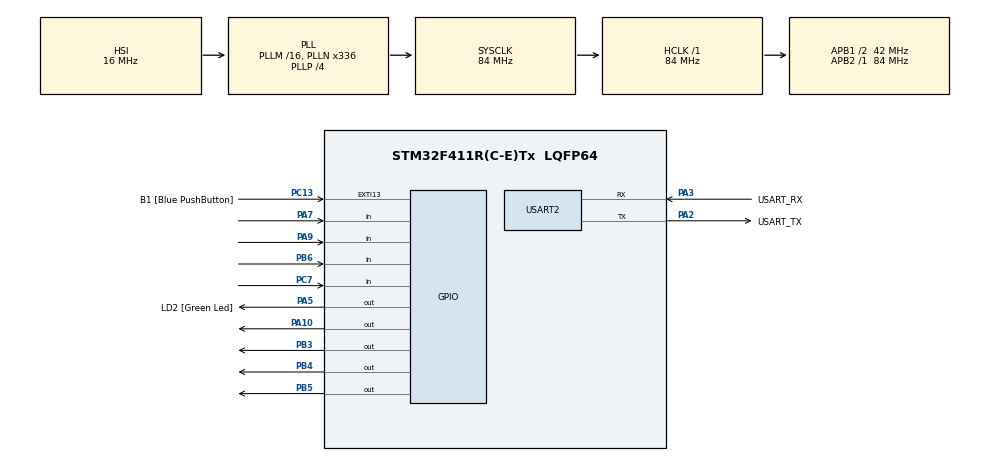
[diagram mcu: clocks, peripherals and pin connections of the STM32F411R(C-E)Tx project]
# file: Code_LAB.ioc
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Mcu.Family=STM32F4
Mcu.Name=STM32F411R(C-E)Tx
Mcu.Package=LQFP64
NVIC.PriorityGroup=NVIC_PRIORITYGROUP_0
PA10.GPIO_ModeDefaultOutputPP=GPIO_MODE_OUTPUT_OD
PA10.GPIO_PuPd=GPIO_NOPULL
PA10.Signal=GPIO_Output
PA13.GPIO_Label=TMS
PA13.Mode=Serial_Wire
PA13.Signal=SYS_JTMS-SWDIO
PA14.GPIO_Label=TCK
PA14.Mode=Serial_Wire
PA14.Signal=SYS_JTCK-SWCLK
PA2.GPIO_Label=USART_TX
PA2.Mode=Asynchronous
PA2.Signal=USART2_TX
PA3.GPIO_Label=USART_RX
PA3.Mode=Asynchronous
PA3.Signal=USART2_RX
PA5.GPIO_Label=LD2 [Green Led]
PA5.Signal=GPIO_Output
PA7.GPIO_PuPd=GPIO_PULLUP
PA7.Signal=GPIO_Input
PA9.GPIO_PuPd=GPIO_PULLUP
PA9.Signal=GPIO_Input
PB3.GPIO_ModeDefaultOutputPP=GPIO_MODE_OUTPUT_OD
PB3.GPIO_PuPd=GPIO_NOPULL
PB3.Signal=GPIO_Output
PB4.GPIO_ModeDefaultOutputPP=GPIO_MODE_OUTPUT_OD
PB4.GPIO_PuPd=GPIO_NOPULL
PB4.Signal=GPIO_Output
PB5.GPIO_ModeDefaultOutputPP=GPIO_MODE_OUTPUT_OD
PB5.GPIO_PuPd=GPIO_NOPULL
PB5.Signal=GPIO_Output
PB6.GPIO_PuPd=GPIO_PULLUP
PB6.Signal=GPIO_Input
PC13-ANTI_TAMP.GPIO_Label=B1 [Blue PushButton]
PC13-ANTI_TAMP.GPIO_ModeDefaultEXTI=GPIO_MODE_IT_FALLING
PC13-ANTI_TAMP.Signal=GPXTI13
PC14-OSC32_IN.Mode=LSE-External-Oscillator
PC14-OSC32_IN.Signal=RCC_OSC32_IN
PC15-OSC32_OUT.Mode=LSE-External-Oscillator
PC15-OSC32_OUT.Signal=RCC_OSC32_OUT
PC7.GPIO_PuPd=GPIO_PULLUP
PC7.Signal=GPIO_Input
PH0\ -\ OSC_IN.Mode=HSE-External-Clock-Source
PH0\ -\ OSC_IN.Signal=RCC_OSC_IN
PH1\ -\ OSC_OUT.Mode=HSE-External-Clock-Source
PH1\ -\ OSC_OUT.Signal=RCC_OSC_OUT
ProjectManager.HeapSize=0x200
ProjectManager.StackSize=0x400
ProjectManager.TargetToolchain=STM32CubeIDE
RCC.48MHZClocksFreq_Value=84000000
RCC.AHBFreq_Value=84000000
RCC.APB1CLKDivider=RCC_HCLK_DIV2
RCC.APB1Freq_Value=42000000
RCC.APB1TimFreq_Value=84000000
RCC.APB2Freq_Value=84000000
RCC.APB2TimFreq_Value=84000000
RCC.CortexFreq_Value=84000000
RCC.FLatency-AdvancedSettings=FLASH_LATENCY_2
RCC.HCLKFreq_Value=84000000
RCC.HSE_VALUE=8000000
RCC.HSI_VALUE=16000000
RCC.PLLN=336
RCC.PLLP=RCC_PLLP_DIV4
RCC.SYSCLKFreq_VALUE=84000000
RCC.SYSCLKSource=RCC_SYSCLKSOURCE_PLLCLK
RCC.VCOOutputFreq_Value=336000000
USART2.VirtualMode=VM_ASYNC
board=NUCLEO-F411RE

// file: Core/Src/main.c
/* USER CODE BEGIN Header */
/**
  ******************************************************************************
  * @file           : main.c
  * @brief          : Main program body
  ******************************************************************************
  * @attention
  *
  * Copyright (c) 2023 STMicroelectronics.
  * All rights reserved.
  *
  * This software is licensed under terms that can be found in the LICENSE file
  * in the root directory of this software component.
  * If no LICENSE file comes with this software, it is provided AS-IS.
  *
  ******************************************************************************
  */
/* USER CODE END Header */
#include "main.h"

UART_HandleTypeDef huart2;

/* USER CODE BEGIN PV */
typedef struct {
	GPIO_TypeDef* PORT;
	uint16_t PIN;
}PortPin;

PortPin R[4] =
{
		{GPIOA,GPIO_PIN_10},
		{GPIOB,GPIO_PIN_3},
		{GPIOB,GPIO_PIN_5},
		{GPIOB,GPIO_PIN_4}
};

PortPin L[4] =
{
		{GPIOA,GPIO_PIN_9},
		{GPIOC,GPIO_PIN_7},
		{GPIOB,GPIO_PIN_6},
		{GPIOA,GPIO_PIN_7}
};

uint16_t ButtonMatrix = 0;
uint16_t state = 1;
uint16_t NumberInput = 0;
uint16_t NumberDelay = 0;
uint8_t NowState = 0;

/* USER CODE END PV */

void SystemClock_Config(void);
static void MX_GPIO_Init(void);
static void MX_USART2_UART_Init(void);
/* USER CODE BEGIN PFP */
int ReadMatrixButton_1Row();
/* USER CODE END PFP */

int main(void)
{

  /* MCU Configuration--------------------------------------------------------*/

  /* Reset of all peripherals, Initializes the Flash interface and the Systick. */
  HAL_Init();

  /* Configure the system clock */
  SystemClock_Config();

  /* Initialize all configured peripherals */
  MX_GPIO_Init();
  MX_USART2_UART_Init();

  /* Infinite loop */
  while (1)
  {

    /* USER CODE BEGIN 3 */
	  static uint32_t timestamp = 0;
	  // 100 time per 1 second || 1 time per second = 1/100 = 0.01 s = 10 ms
	  if(HAL_GetTick() > timestamp){
		  timestamp = HAL_GetTick() + 10; // +10 ms
		  NumberInput = ReadMatrixButton_1Row();
	  }
	  switch (state) {
		case 1: //initial
			NowState = 1;

			if(NumberInput == 64 && NumberDelay == 0){ //Correct Number
				state = 3;
			}
			else if(NumberInput != 0 && NumberDelay == 0) state = 2;//Wrong
			break;
		case 2://wrong
			NowState = 2;

			if(NumberInput == 8 && NumberDelay == 0){ //clear
				state = 1;
			}
			break;
		case 3://6
			NowState = 3;

			if(NumberInput == 16 && NumberDelay == 0){ //Correct Number
				state = 4;
			}
			else if(NumberInput == 8 && NumberDelay == 0){ //clear
				state = 1;
			}
			else if(NumberInput != 0 && NumberDelay == 0) state = 2;//Wrong

			break;
		case 4://4
			NowState = 4;

			if(NumberInput == 1024 && NumberDelay == 0){ //Correct Number
				state = 5;
			}
			else if(NumberInput == 8 && NumberDelay == 0){ //clear
				state = 1;
			}
			else if(NumberInput != 0 && NumberDelay == 0) state = 2;//Wrong

			break;
		case 5://3
			NowState = 5;

			if(NumberInput == 16 && NumberDelay == 0){ //Correct Number
				state = 6;
			}
			else if(NumberInput == 8 && NumberDelay == 0){ //clear
				state = 1;
			}
			else if(NumberInput != 0 && NumberDelay == 0) state = 2;//Wrong

			break;
		case 6://4
			NowState = 6;

			if(NumberInput == 4096 && NumberDelay == 0){ //Correct Number
				state = 7;
			}
			else if(NumberInput == 8 && NumberDelay == 0){ //clear
				state = 1;
			}
			else if(NumberInput != 0 && NumberDelay == 0) state = 2;//Wrong

			break;
		case 7://0
			NowState = 7;

			if(NumberInput == 32 && NumberDelay == 0){ //Correct Number
				state = 8;
			}
			else if(NumberInput == 8 && NumberDelay == 0){ //clear
				state = 1;
			}
			else if(NumberInput != 0 && NumberDelay == 0) state = 2;//Wrong

			break;
		case 8://5
			NowState = 8;

			if(NumberInput == 4096 && NumberDelay == 0){ //Correct Number
				state = 9;
			}
			else if(NumberInput == 8 && NumberDelay == 0){ //clear
				state = 1;
			}
			else if(NumberInput != 0 && NumberDelay == 0) state = 2;//Wrong

			break;
		case 9://0
			NowState = 9;

			if(NumberInput == 4096 && NumberDelay == 0){ //Correct Number
				state = 10;
			}
			else if(NumberInput == 8 && NumberDelay == 0){ //clear
				state = 1;
			}
			else if(NumberInput != 0 && NumberDelay == 0) state = 2;//Wrong

			break;
		case 10://0
			NowState = 10;

			if(NumberInput == 4096 && NumberDelay == 0){ //Correct Number
				state = 11;
			}
			else if(NumberInput == 8 && NumberDelay == 0){ //clear
				state = 1;
			}
			else if(NumberInput != 0 && NumberDelay == 0) state = 2;//Wrong

			break;
		case 11://0
			NowState = 11;

			if(NumberInput == 16 && NumberDelay == 0){ //Correct Number
				state = 12;
			}
			else if(NumberInput == 8 && NumberDelay == 0){ //clear
				state = 1;
			}
			else if(NumberInput != 0 && NumberDelay == 0) state = 2;//Wrong

			break;
		case 12://4
			NowState = 12;

			if(NumberInput == 16 && NumberDelay == 0){ //Correct Number
				state = 13;
			}
			else if(NumberInput == 8 && NumberDelay == 0){ //clear
				state = 1;
			}
			else if(NumberInput != 0 && NumberDelay == 0) state = 2;//Wrong

			break;
		case 13://4
			NowState = 13;

			if(NumberInput == 32768 && NumberDelay == 0){ //Click OK
				state = 14;
			}
			else if(NumberInput == 8 && NumberDelay == 0){ //clear
				state = 1;
			}
			else if(NumberInput != 0 && NumberDelay == 0) state = 2;//Wrong

			break;
		case 14://LED on
			NowState = 14;
			HAL_GPIO_WritePin(GPIOA, GPIO_PIN_5, GPIO_PIN_SET);

			if(NumberInput == 8 && NumberDelay == 0){ //clear
				HAL_GPIO_WritePin(GPIOA, GPIO_PIN_5, GPIO_PIN_RESET);
				state = 1;
			}

			break;
	}
	  NumberDelay = NumberInput;
  }
  /* USER CODE END 3 */
}

void SystemClock_Config(void)
{
  RCC_OscInitTypeDef RCC_OscInitStruct = {0};
  RCC_ClkInitTypeDef RCC_ClkInitStruct = {0};

  /** Configure the main internal regulator output voltage
  */
  __HAL_RCC_PWR_CLK_ENABLE();
  __HAL_PWR_VOLTAGESCALING_CONFIG(PWR_REGULATOR_VOLTAGE_SCALE1);

  /** Initializes the RCC Oscillators according to the specified parameters
  * in the RCC_OscInitTypeDef structure.
  */
  RCC_OscInitStruct.OscillatorType = RCC_OSCILLATORTYPE_HSI;
  RCC_OscInitStruct.HSIState = RCC_HSI_ON;
  RCC_OscInitStruct.HSICalibrationValue = RCC_HSICALIBRATION_DEFAULT;
  RCC_OscInitStruct.PLL.PLLState = RCC_PLL_ON;
  RCC_OscInitStruct.PLL.PLLSource = RCC_PLLSOURCE_HSI;
  RCC_OscInitStruct.PLL.PLLM = 16;
  RCC_OscInitStruct.PLL.PLLN = 336;
  RCC_OscInitStruct.PLL.PLLP = RCC_PLLP_DIV4;
  RCC_OscInitStruct.PLL.PLLQ = 4;
  if (HAL_RCC_OscConfig(&RCC_OscInitStruct) != HAL_OK)
  {
    Error_Handler();
  }

  /** Initializes the CPU, AHB and APB buses clocks
  */
  RCC_ClkInitStruct.ClockType = RCC_CLOCKTYPE_HCLK|RCC_CLOCKTYPE_SYSCLK
                              |RCC_CLOCKTYPE_PCLK1|RCC_CLOCKTYPE_PCLK2;
  RCC_ClkInitStruct.SYSCLKSource = RCC_SYSCLKSOURCE_PLLCLK;
  RCC_ClkInitStruct.AHBCLKDivider = RCC_SYSCLK_DIV1;
  RCC_ClkInitStruct.APB1CLKDivider = RCC_HCLK_DIV2;
  RCC_ClkInitStruct.APB2CLKDivider = RCC_HCLK_DIV1;

  if (HAL_RCC_ClockConfig(&RCC_ClkInitStruct, FLASH_LATENCY_2) != HAL_OK)
  {
    Error_Handler();
  }
}

static void MX_USART2_UART_Init(void)
{

  huart2.Instance = USART2;
  huart2.Init.BaudRate = 115200;
  huart2.Init.WordLength = UART_WORDLENGTH_8B;
  huart2.Init.StopBits = UART_STOPBITS_1;
  huart2.Init.Parity = UART_PARITY_NONE;
  huart2.Init.Mode = UART_MODE_TX_RX;
  huart2.Init.HwFlowCtl = UART_HWCONTROL_NONE;
  huart2.Init.OverSampling = UART_OVERSAMPLING_16;
  if (HAL_UART_Init(&huart2) != HAL_OK)
  {
    Error_Handler();
  }

}

static void MX_GPIO_Init(void)
{
  GPIO_InitTypeDef GPIO_InitStruct = {0};

  /* GPIO Ports Clock Enable */
  __HAL_RCC_GPIOC_CLK_ENABLE();
  __HAL_RCC_GPIOH_CLK_ENABLE();
  __HAL_RCC_GPIOA_CLK_ENABLE();
  __HAL_RCC_GPIOB_CLK_ENABLE();

  /*Configure GPIO pin Output Level */
  HAL_GPIO_WritePin(GPIOA, LD2_Pin|GPIO_PIN_10, GPIO_PIN_RESET);

  /*Configure GPIO pin Output Level */
  HAL_GPIO_WritePin(GPIOB, GPIO_PIN_3|GPIO_PIN_4|GPIO_PIN_5, GPIO_PIN_RESET);

  /*Configure GPIO pin : B1_Pin */
  GPIO_InitStruct.Pin = B1_Pin;
  GPIO_InitStruct.Mode = GPIO_MODE_IT_FALLING;
  GPIO_InitStruct.Pull = GPIO_NOPULL;
  HAL_GPIO_Init(B1_GPIO_Port, &GPIO_InitStruct);

  /*Configure GPIO pin : LD2_Pin */
  GPIO_InitStruct.Pin = LD2_Pin;
  GPIO_InitStruct.Mode = GPIO_MODE_OUTPUT_PP;
  GPIO_InitStruct.Pull = GPIO_NOPULL;
  GPIO_InitStruct.Speed = GPIO_SPEED_FREQ_LOW;
  HAL_GPIO_Init(LD2_GPIO_Port, &GPIO_InitStruct);

  /*Configure GPIO pins : PA7 PA9 */
  GPIO_InitStruct.Pin = GPIO_PIN_7|GPIO_PIN_9;
  GPIO_InitStruct.Mode = GPIO_MODE_INPUT;
  GPIO_InitStruct.Pull = GPIO_PULLUP;
  HAL_GPIO_Init(GPIOA, &GPIO_InitStruct);

  /*Configure GPIO pin : PC7 */
  GPIO_InitStruct.Pin = GPIO_PIN_7;
  GPIO_InitStruct.Mode = GPIO_MODE_INPUT;
  GPIO_InitStruct.Pull = GPIO_PULLUP;
  HAL_GPIO_Init(GPIOC, &GPIO_InitStruct);

  /*Configure GPIO pin : PA10 */
  GPIO_InitStruct.Pin = GPIO_PIN_10;
  GPIO_InitStruct.Mode = GPIO_MODE_OUTPUT_OD;
  GPIO_InitStruct.Pull = GPIO_NOPULL;
  GPIO_InitStruct.Speed = GPIO_SPEED_FREQ_LOW;
  HAL_GPIO_Init(GPIOA, &GPIO_InitStruct);

  /*Configure GPIO pins : PB3 PB4 PB5 */
  GPIO_InitStruct.Pin = GPIO_PIN_3|GPIO_PIN_4|GPIO_PIN_5;
  GPIO_InitStruct.Mode = GPIO_MODE_OUTPUT_OD;
  GPIO_InitStruct.Pull = GPIO_NOPULL;
  GPIO_InitStruct.Speed = GPIO_SPEED_FREQ_LOW;
  HAL_GPIO_Init(GPIOB, &GPIO_InitStruct);

  /*Configure GPIO pin : PB6 */
  GPIO_InitStruct.Pin = GPIO_PIN_6;
  GPIO_InitStruct.Mode = GPIO_MODE_INPUT;
  GPIO_InitStruct.Pull = GPIO_PULLUP;
  HAL_GPIO_Init(GPIOB, &GPIO_InitStruct);

}

/* USER CODE BEGIN 4 */
int ReadMatrixButton_1Row() {
    static uint8_t X = 0;
    register int i;
    //check row (first time anything will pass because all R[X] set as high. it can start row check at the second time by set R[1] as low )
    for (i = 0; i < 4; i++) {
        if (HAL_GPIO_ReadPin(L[i].PORT, L[i].PIN)) {
            ButtonMatrix &= ~(1 << (X * 4 + i));
            //i = 0 x = 0
            //~(1 << (0*4 + 0))
            //~0b0000000000000001
            // 0b1111111111111110 & ButtonMatrix
            //=0b***************0
            //if noting change (doesn't pass button) ButtonMatrix will always 0b0000000000000000 by this step
            //it do right to left repeat
        }
        else {
            ButtonMatrix |= 1 << (X * 4 + i);
            //i = 0 x = 0
            //(1 << (0*4 + 0))
            // 0b0000000000000001
            // 0b0000000000000001 | ButtonMatrix
            //=0b***************1
            //if button is passed ButtonMatrix will get 1 to some bit by this step.
            //it can have double 1 in some bit like 0b0001000000001000 but for human response it hard to be like that (it check and shift bit every 10 ms.)
        }
    }
    //change column
    HAL_GPIO_WritePin(R[X].PORT, R[X].PIN, 1); //reset R[x] to 1 Floating
    HAL_GPIO_WritePin(R[(X + 1) % 4].PORT, R[(X + 1) % 4].PIN, 0); //Let R[X] to 0 by column (x start at 0 if it check all L[i] then do next column)
    X++; // because 1 set of i plus 1 to x
    X %= 4; // if X = 4 then x = 0
    return ButtonMatrix;
    /*---------------------------------STEP of Work---------------------------------------
     1. check row of column x (form i = 0 to i = 3)
     2. reset column x (R[x]) to high
     3. set next column R[x+1] to low *if x = 4 then x = 0
     repeat...
    */
}
/* USER CODE END 4 */

void Error_Handler(void)
{
  __disable_irq();
  while (1)
  {
  }
}
